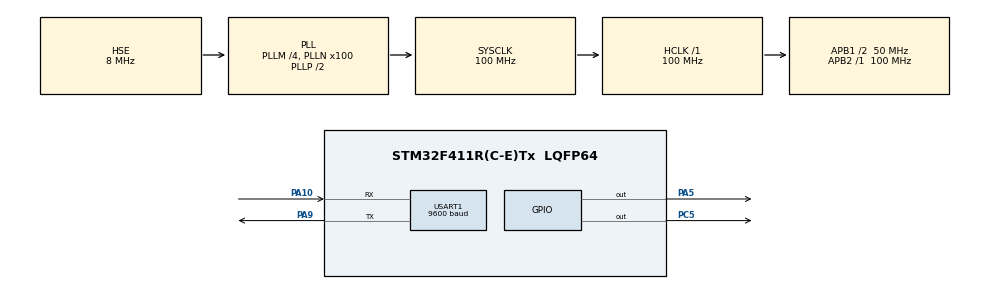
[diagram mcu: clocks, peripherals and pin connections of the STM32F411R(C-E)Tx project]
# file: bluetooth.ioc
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Mcu.Family=STM32F4
Mcu.Name=STM32F411R(C-E)Tx
Mcu.Package=LQFP64
NVIC.PriorityGroup=NVIC_PRIORITYGROUP_4
NVIC.USART1_IRQn=true\:0\:0\:false\:false\:true\:true\:true\:true
PA10.Mode=Asynchronous
PA10.Signal=USART1_RX
PA5.Signal=GPIO_Output
PA9.Mode=Asynchronous
PA9.Signal=USART1_TX
PC5.Signal=GPIO_Output
PH0\ -\ OSC_IN.Mode=HSE-External-Oscillator
PH0\ -\ OSC_IN.Signal=RCC_OSC_IN
PH1\ -\ OSC_OUT.Mode=HSE-External-Oscillator
PH1\ -\ OSC_OUT.Signal=RCC_OSC_OUT
ProjectManager.HeapSize=0x200
ProjectManager.StackSize=0x400
ProjectManager.TargetToolchain=STM32CubeIDE
RCC.48MHZClocksFreq_Value=50000000
RCC.AHBFreq_Value=100000000
RCC.APB1CLKDivider=RCC_HCLK_DIV2
RCC.APB1Freq_Value=50000000
RCC.APB1TimFreq_Value=100000000
RCC.APB2Freq_Value=100000000
RCC.APB2TimFreq_Value=100000000
RCC.CortexFreq_Value=100000000
RCC.EnbaleCSS=true
RCC.HCLKFreq_Value=100000000
RCC.HSE_VALUE=8000000
RCC.HSI_VALUE=16000000
RCC.LSE_VALUE=32768
RCC.PLLM=4
RCC.PLLN=100
RCC.PLLSourceVirtual=RCC_PLLSOURCE_HSE
RCC.SYSCLKFreq_VALUE=100000000
RCC.SYSCLKSource=RCC_SYSCLKSOURCE_PLLCLK
RCC.VCOOutputFreq_Value=200000000
USART1.BaudRate=9600
USART1.VirtualMode=VM_ASYNC
board=custom

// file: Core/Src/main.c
/* USER CODE BEGIN Header */
/**
  ******************************************************************************
  * @file           : main.c
  * @brief          : Main program body
  ******************************************************************************
  * @attention
  *
  * Copyright (c) 2026 STMicroelectronics.
  * All rights reserved.
  *
  * This software is licensed under terms that can be found in the LICENSE file
  * in the root directory of this software component.
  * If no LICENSE file comes with this software, it is provided AS-IS.
  *
  ******************************************************************************
  */
/* USER CODE END Header */
#include "main.h"

/* USER CODE BEGIN Includes */

//// работа с прерываниями TX
volatile uint8_t tx_work = 0;
////

#include <string.h>
#include <stdbool.h>
#define RX_BUF_SIZE 10
enum word{FS, SS, TS, gS, lS, eS};

uint8_t s = FS;
uint8_t rx_byte;
volatile uint8_t current_len = 0;

uint8_t rx_data[RX_BUF_SIZE] = {0};
uint8_t data_ready = 0;
int data_on = 0, data_off = 0, data_toggle = 0, set_message=0;
/* USER CODE END Includes */

UART_HandleTypeDef huart1;

void SystemClock_Config(void);
static void MX_GPIO_Init(void);
static void MX_USART1_UART_Init(void);

/* USER CODE BEGIN 0 */

/// для задержки
void HAL_UART_TxCpltCallback(UART_HandleTypeDef *huart){
	if (huart->Instance == USART1){
		tx_work = 0;
		current_len = 0;
	}
}
///

void HAL_UART_RxCpltCallback(UART_HandleTypeDef *huart) {
	if (huart->Instance == USART1){ //huart==&huart1

		if (current_len < RX_BUF_SIZE) {
			            rx_data[current_len] = rx_byte;
			            current_len++;
			        }
		switch(s){

			case FS:
				if (!(rx_byte == 'O' || rx_byte == 'T')){

					if (!tx_work) {  // Если UART свободен
						tx_work = 1;
						HAL_UART_Transmit_IT(&huart1, rx_data, current_len);
					}

					current_len = 0;
				}
				else{
					s = SS;
				}
				break;

			case SS:
				if (rx_byte == 'N'){
					s = FS;

					data_on = 1;
					data_off = 0;
					data_toggle = 0;

					if (!tx_work) {  // Если UART свободен
						tx_work = 1;
						HAL_UART_Transmit_IT(&huart1, rx_data, current_len);
					}

					current_len = 0;
				}

				else if (rx_byte == 'F' || rx_byte == 'o'){
					s = TS;

				}
				else{
					if (!tx_work) {  // Если UART свободен
						tx_work = 1;
						HAL_UART_Transmit_IT(&huart1, rx_data, current_len);
					}

					s = FS;
					current_len = 0;
				}
				break;

			case TS:
				if (rx_byte == 'F'){
					s = FS;

					data_on = 0;
					data_off = 1;
					data_toggle = 0;

					if (!tx_work) {  // Если UART свободен
						tx_work = 1;
						HAL_UART_Transmit_IT(&huart1, rx_data, current_len);
					}

					current_len = 0;
				}
				else if (rx_byte == 'g'){
					s = gS;

				}
				else{
					if (!tx_work) {  // Если UART свободен
						tx_work = 1;
						HAL_UART_Transmit_IT(&huart1, rx_data, current_len);
					}

					s = FS;
					current_len = 0;
				}
				break;

			case gS:
				if (rx_byte == 'g'){
					s = lS;
				}
				else{
					if (!tx_work) {  // Если UART свободен
						tx_work = 1;
						HAL_UART_Transmit_IT(&huart1, rx_data, current_len);
					}

					s = FS;
					current_len = 0;
				}
				break;

			case lS:
				if (rx_byte == 'l'){
					s = eS;

				}
				else{
					if (!tx_work) {  // Если UART свободен
						tx_work = 1;
						HAL_UART_Transmit_IT(&huart1, rx_data, current_len);
					}

					s = FS;
					current_len = 0;
				}
				break;

			case eS:
				if (rx_byte == 'e'){
					s = FS;
					data_toggle = 1;
					data_on = 0;
					data_off = 0;

					if (!tx_work) {  // Если UART свободен
						tx_work = 1;
						HAL_UART_Transmit_IT(&huart1, rx_data, current_len);
					}

					current_len = 0;
				}
				else{
					if (!tx_work) {  // Если UART свободен
						tx_work = 1;
						HAL_UART_Transmit_IT(&huart1, rx_data, current_len);
					}

					s = FS;
					current_len = 0;
				}
				break;
		}
		HAL_UART_Receive_IT(&huart1, &rx_byte, 1);
	}
}
/* USER CODE END 0 */

int main(void)
{

  /* USER CODE BEGIN 1 */
	char welcome[] = "Bluetooth ready\r\n\0";
  /* USER CODE END 1 */

  /* MCU Configuration--------------------------------------------------------*/

  /* Reset of all peripherals, Initializes the Flash interface and the Systick. */
  HAL_Init();

  /* Configure the system clock */
  SystemClock_Config();

  /* Initialize all configured peripherals */
  MX_GPIO_Init();
  MX_USART1_UART_Init();
  /* USER CODE BEGIN 2 */
  tx_work = 1;
  HAL_UART_Transmit_IT(&huart1, (uint8_t*)welcome, strlen(welcome));

  HAL_UART_Receive_IT(&huart1, &rx_byte, 1);
  /* USER CODE END 2 */

  /* Infinite loop */
  while (1)
  {

    /* USER CODE BEGIN 3 */
	  if (!tx_work){ // если отправка работает - не сработают команды
		  if (data_on){
				  HAL_GPIO_WritePin(GPIOC, GPIO_PIN_5,1);
				  HAL_Delay(30);
			  }

		  if (data_off){

					  HAL_GPIO_WritePin(GPIOC, GPIO_PIN_5,0);
					  HAL_Delay(30);
			  }
		  if (data_toggle){
					  HAL_GPIO_TogglePin(GPIOC, GPIO_PIN_5);
					  HAL_Delay(30);
		  }
	  }
  }
  /* USER CODE END 3 */
}

void SystemClock_Config(void)
{
  RCC_OscInitTypeDef RCC_OscInitStruct = {0};
  RCC_ClkInitTypeDef RCC_ClkInitStruct = {0};

  /** Configure the main internal regulator output voltage
  */
  __HAL_RCC_PWR_CLK_ENABLE();
  __HAL_PWR_VOLTAGESCALING_CONFIG(PWR_REGULATOR_VOLTAGE_SCALE1);

  /** Initializes the RCC Oscillators according to the specified parameters
  * in the RCC_OscInitTypeDef structure.
  */
  RCC_OscInitStruct.OscillatorType = RCC_OSCILLATORTYPE_HSE;
  RCC_OscInitStruct.HSEState = RCC_HSE_ON;
  RCC_OscInitStruct.PLL.PLLState = RCC_PLL_ON;
  RCC_OscInitStruct.PLL.PLLSource = RCC_PLLSOURCE_HSE;
  RCC_OscInitStruct.PLL.PLLM = 4;
  RCC_OscInitStruct.PLL.PLLN = 100;
  RCC_OscInitStruct.PLL.PLLP = RCC_PLLP_DIV2;
  RCC_OscInitStruct.PLL.PLLQ = 4;
  if (HAL_RCC_OscConfig(&RCC_OscInitStruct) != HAL_OK)
  {
    Error_Handler();
  }

  /** Initializes the CPU, AHB and APB buses clocks
  */
  RCC_ClkInitStruct.ClockType = RCC_CLOCKTYPE_HCLK|RCC_CLOCKTYPE_SYSCLK
                              |RCC_CLOCKTYPE_PCLK1|RCC_CLOCKTYPE_PCLK2;
  RCC_ClkInitStruct.SYSCLKSource = RCC_SYSCLKSOURCE_PLLCLK;
  RCC_ClkInitStruct.AHBCLKDivider = RCC_SYSCLK_DIV1;
  RCC_ClkInitStruct.APB1CLKDivider = RCC_HCLK_DIV2;
  RCC_ClkInitStruct.APB2CLKDivider = RCC_HCLK_DIV1;

  if (HAL_RCC_ClockConfig(&RCC_ClkInitStruct, FLASH_LATENCY_3) != HAL_OK)
  {
    Error_Handler();
  }

  /** Enables the Clock Security System
  */
  HAL_RCC_EnableCSS();
}

static void MX_USART1_UART_Init(void)
{

  huart1.Instance = USART1;
  huart1.Init.BaudRate = 9600;
  huart1.Init.WordLength = UART_WORDLENGTH_8B;
  huart1.Init.StopBits = UART_STOPBITS_1;
  huart1.Init.Parity = UART_PARITY_NONE;
  huart1.Init.Mode = UART_MODE_TX_RX;
  huart1.Init.HwFlowCtl = UART_HWCONTROL_NONE;
  huart1.Init.OverSampling = UART_OVERSAMPLING_16;
  if (HAL_UART_Init(&huart1) != HAL_OK)
  {
    Error_Handler();
  }

}

static void MX_GPIO_Init(void)
{
  GPIO_InitTypeDef GPIO_InitStruct = {0};

  /* GPIO Ports Clock Enable */
  __HAL_RCC_GPIOH_CLK_ENABLE();
  __HAL_RCC_GPIOA_CLK_ENABLE();
  __HAL_RCC_GPIOC_CLK_ENABLE();

  /*Configure GPIO pin Output Level */
  HAL_GPIO_WritePin(GPIOA, GPIO_PIN_5, GPIO_PIN_RESET);

  /*Configure GPIO pin Output Level */
  HAL_GPIO_WritePin(GPIOC, GPIO_PIN_5, GPIO_PIN_RESET);

  /*Configure GPIO pin : PA5 */
  GPIO_InitStruct.Pin = GPIO_PIN_5;
  GPIO_InitStruct.Mode = GPIO_MODE_OUTPUT_PP;
  GPIO_InitStruct.Pull = GPIO_NOPULL;
  GPIO_InitStruct.Speed = GPIO_SPEED_FREQ_LOW;
  HAL_GPIO_Init(GPIOA, &GPIO_InitStruct);

  /*Configure GPIO pin : PC5 */
  GPIO_InitStruct.Pin = GPIO_PIN_5;
  GPIO_InitStruct.Mode = GPIO_MODE_OUTPUT_PP;
  GPIO_InitStruct.Pull = GPIO_NOPULL;
  GPIO_InitStruct.Speed = GPIO_SPEED_FREQ_LOW;
  HAL_GPIO_Init(GPIOC, &GPIO_InitStruct);

}

void Error_Handler(void)
{
  __disable_irq();
  while (1)
  {
  }
}
